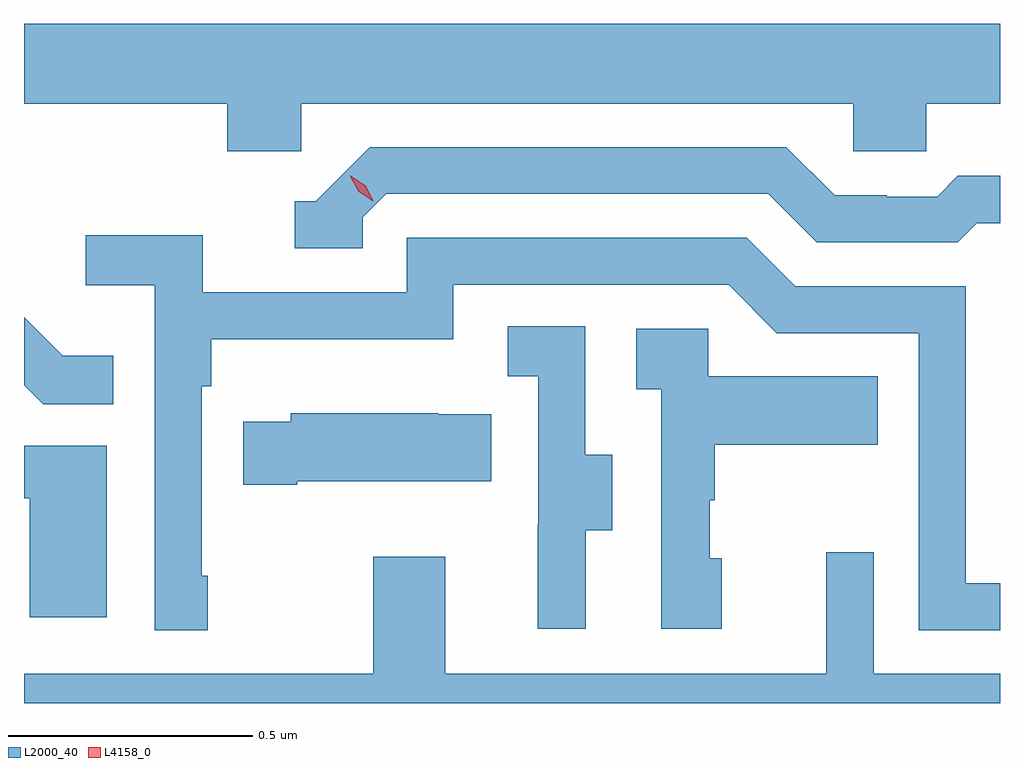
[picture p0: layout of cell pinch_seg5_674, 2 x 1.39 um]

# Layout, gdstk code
import gdstk
lib = gdstk.Library(unit=1e-6, precision=1e-09)
def P(c, l, *ps):  # polygons
    for p in ps: c.add(gdstk.Polygon(p, *l))
L2000_40 = (2000, 40)
L4158_0 = (4158, 0)

pinch_seg5_674 = lib.new_cell('pinch_seg5_674')
P(pinch_seg5_674, L2000_40, [(1057.23,842.108),(1058.361,842.108),(1058.361,842.01),(1058.511,842.01),(1058.511,842.108),(1058.662,842.108),(1058.662,842.272),(1056.662,842.272),(1056.662,842.108),(1057.079,842.108),(1057.079,842.01),(1057.23,842.01)],
  [(1057.356,841.875),(1057.404,841.923),(1058.187,841.923),(1058.286,841.824),(1058.575,841.824),(1058.614,841.863),(1058.662,841.863),(1058.662,841.96),(1058.575,841.96),(1058.533,841.917),(1058.43,841.917),(1058.43,841.92),(1058.323,841.92),(1058.224,842.019),(1057.371,842.019),(1057.26,841.908),(1057.217,841.908),(1057.217,841.812),(1057.356,841.812)],
  [(1057.039,841.141),(1057.026,841.141),(1057.026,841.529),(1057.046,841.529),(1057.046,841.625),(1057.542,841.625),(1057.542,841.737),(1058.106,841.737),(1058.205,841.638),(1058.496,841.638),(1058.496,841.029),(1058.662,841.029),(1058.662,841.125),(1058.592,841.125),(1058.592,841.734),(1058.242,841.734),(1058.143,841.833),(1057.446,841.833),(1057.446,841.722),(1057.028,841.722),(1057.028,841.838),(1056.789,841.838),(1056.789,841.736),(1056.93,841.736),(1056.93,841.029),(1057.039,841.029)],
  [(1056.845,841.591),(1056.741,841.591),(1056.662,841.67),(1056.662,841.531),(1056.701,841.492),(1056.845,841.492)],
  [(1057.813,841.234),(1057.867,841.234),(1057.867,841.389),(1057.812,841.389),(1057.812,841.652),(1057.653,841.652),(1057.653,841.549),(1057.716,841.549),(1057.716,841.245),(1057.715,841.245),(1057.715,841.032),(1057.813,841.032)],
  [(1058.092,841.176),(1058.067,841.176),(1058.067,841.295),(1058.077,841.295),(1058.077,841.409),(1058.411,841.409),(1058.411,841.549),(1058.064,841.549),(1058.064,841.647),(1057.917,841.647),(1057.917,841.523),(1057.968,841.523),(1057.968,841.032),(1058.092,841.032)],
  [(1057.222,841.334),(1057.619,841.334),(1057.619,841.471),(1057.511,841.471),(1057.511,841.474),(1057.209,841.474),(1057.209,841.456),(1057.111,841.456),(1057.111,841.327),(1057.222,841.327)],
  [(1056.832,841.407),(1056.662,841.407),(1056.662,841.299),(1056.674,841.299),(1056.674,841.056),(1056.832,841.056)],
  [(1058.662,840.94),(1058.403,840.94),(1058.403,841.189),(1058.306,841.189),(1058.306,840.94),(1057.525,840.94),(1057.525,841.18),(1057.378,841.18),(1057.378,840.94),(1056.662,840.94),(1056.662,840.879),(1058.662,840.879)])
P(pinch_seg5_674, L4158_0, [(1057.378,841.908),(1057.348,841.927),(1057.331,841.959),(1057.331,841.96),(1057.332,841.96),(1057.362,841.94),(1057.378,841.908),(1057.378,841.908)])

lib.write_gds('pinch_seg5_674.gds')
